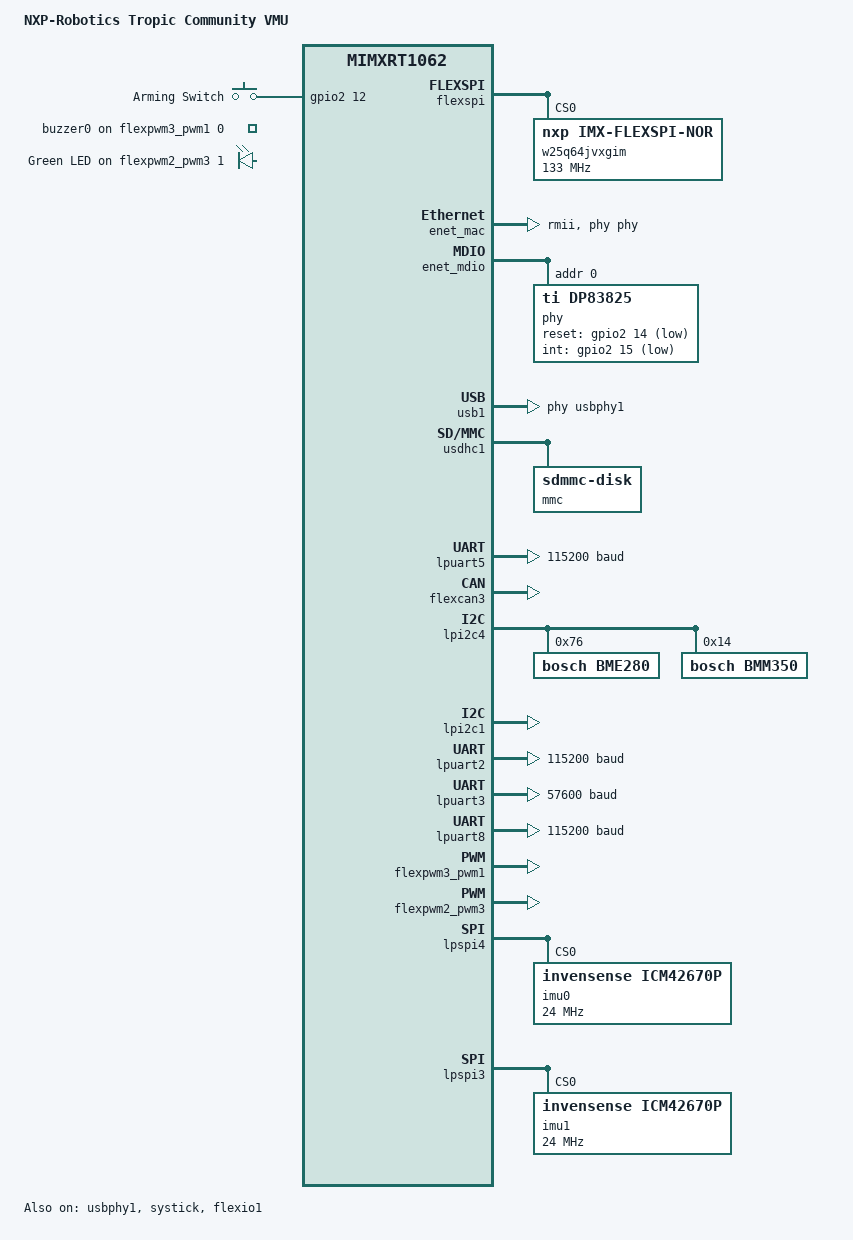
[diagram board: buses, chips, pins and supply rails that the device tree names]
/* SPDX-License-Identifier: Apache-2.0 */
/*
 * Copyright (c) 2020, Bernhard Kraemer
 * Copyright 2026 CogniPilot Foundation
 */

/*
 * NXP-Robotics "Tropic Community VMU" (Teensy 4.1 / MIMXRT1062DVJ6B based
 * carrier board): https://github.com/NXP-Robotics/TropicCommunityVMU
 *
 * This board is built on top of the upstream "teensy41" board (same MCU
 * module, same flash chip, same teensy-loader-cli flashing) - the base
 * SoC/flash/USB/network/SD sections below are taken unmodified from that
 * board's teensy40.dts/teensy41.dts. Everything past that point is this
 * carrier board's own sensors/actuators/connectors, built the way the
 * sibling "mr_vmu_tropic" board in this same repo does it: hardware wired
 * here in the board's own dts/board.c, with the app (cerebri) only
 * mapping generic aliases onto these chip labels.
 *
 * Sensor set and every pin below are taken from the board owner's actual
 * schematic ("Tropic-VMU_Modified_Mag_same_IMU" rev C) plus the physical
 * Teensy 4.1 pin number behind each net (confirmed against PJRC's own
 * teensy4/core_pins.h, ARDUINO_TEENSY41 block), which was then looked up in
 * hal_nxp's mimxrt1062dvl6a-pinctrl.dtsi to get the exact peripheral/alt-
 * function for each pad. Differs from the stock BOM (PX4's tropic-community
 * port) as follows:
 *   - Two identical ICM-42670-P IMUs (pin/register compatible with the
 *     ICM-42688-P footprint they replace) instead of ICM-42688-P + BMI088
 *   - Bosch BME280 barometer instead of BMP388 (I2C 0x76)
 *   - Bosch BMM350 magnetometer instead of BMM150 (I2C 0x14)
 *   - Both baro and mag share one internal I2C bus ("BARO_MAG_SDA/SCL")
 *
 * Net -> Teensy pin -> pad -> peripheral, as wired below:
 *   SPI1_CS/SCK/MISO/MOSI  10/13/12/11  B0_00/03/01/02       -> lpspi4 (imu0)
 *   SPI2_CS/SCK/MISO/MOSI  38/27/39/26  AD_B1_12/15/13/14    -> lpspi3 (imu1)
 *   BARO_MAG_SCL/SDA       24/25        AD_B0_12/13          -> lpi2c4
 *   EXT_SCL/SDA            19/18        AD_B1_00/01          -> lpi2c1
 *   CAN_TX/RX              31/30        EMC_36/37            -> flexcan3
 *   PWM_1/2/3/5/6      4/33/5/2/3   EMC_06/07/08/04/05    -> flexio1 (dshot)
 *   GPS_TX/RX               14/15        AD_B1_02/03          -> lpuart2
 *   TELEM_TX/RX/RTS/CTS 17/16/41/40  AD_B1_06/07/05/04     -> lpuart3
 *   DEBUG_TX/RX             35/34        B1_12/13             -> lpuart5
 *   RC_INPUT                20           AD_B1_10 (lpuart8_tx) -> lpuart8
 *                                        (single-wire; RX pin doubles as
 *                                        ADC_A below, so RX is NOT wired)
 *
 * All of the above line up exactly with what the upstream "teensy41"
 * board's default pinctrl already wires those peripherals to (see
 * tropic_community-pinctrl.dtsi's own "Teensy-Pins" comments, carried
 * over unmodified from that board), so none of them need a pinctrl
 * override except lpuart3 (its default pinctrl only covers TX/RX, not
 * the RTS/CTS pair this board actually has wired) and lpuart8 (single-
 * wire, TX pin only).
 *
 * The default zephyr,console/shell-uart is lpuart5 (the DEBUG connector),
 * not lpuart6 (the "teensy41" board's own default), since lpuart6's pins
 * (Teensy 0/1) are LED_R/LED_B on this board (see below).
 *
 * PWM_4 (Teensy pin 9, GPIO_B0_11) is a plain FlexPWM channel, not FlexIO,
 * so it is not usable by this repo's "nxp,flexio-dshot" driver and is left
 * unwired (6th ESC output unavailable).
 *
 * ARM safety switch, BUZZER and LED_G are wired below the same way
 * mr_vmu_tropic does it, since cerebri's drivers/sense/safety/main.c and
 * CEREBRI_ACTUATE_SOUND expect exactly those devicetree shapes regardless
 * of board:
 *   - ARM (Teensy pin 32, GPIO_B0_12 = GPIO2 IO12): a /gpio_keys node
 *     (cerebri's drivers/sense/safety/main.c does
 *     INPUT_CALLBACK_DEFINE(DEVICE_DT_GET(DT_PATH(gpio_keys)), ...) and
 *     filters on INPUT_KEY_0)
 *   - BUZZER (Teensy pin 29, GPIO_EMC_31, FlexPWM3 submodule1 channel A -
 *     matches PX4's TONE_ALARM_CHANNEL): a "pwm-leds" child node, same
 *     pattern as mr_vmu_tropic's &flexpwm1_pwm0/buzzer0
 *   - LED_G (Teensy pin 37, GPIO_B1_03, FlexPWM2 submodule3 channel B):
 *     a "pwm-leds" child node, same pattern as the buzzer
 *
 * LED_R/LED_B (Teensy pins 0/1, AD_B0_02/03) are driven via the XBAR1
 * crossbar into Quad Timer 4 (matches PX4's PWM_LED_RED/BLUE) - no
 * devicetree binding covers that, so board.c does the one-time XBAR/
 * GPR6/QTMR4 register setup in C (every value in that file is traced to
 * the i.MX RT1060 Reference Manual, not PX4's NuttX-specific macros) and
 * exposes tropic_community_led_red_set()/_blue_set(). Those two functions
 * aren't hooked up to anything yet - mr_vmu_tropic's own default cerebri
 * config doesn't drive its onboard RGB LED with any arm/safety/mode logic
 * either (CEREBRI_RDD2_LIGHTING and CEREBRI_ACTUATE_LED_ARRAY are both
 * disabled there too), so this matches it rather than falling short.
 *
 * RC_INPUT (Teensy pin 20, lpuart8 single-wire, RX pin doubles as ADC_A so
 * only TX is pinctrl'd) is enabled below but has no protocol decoder
 * attached: the physical UART/pin comes from the schematic, but the
 * receiver protocol (SBUS/CRSF/etc) is a property of whatever external
 * receiver module gets plugged in, not something on this board's own
 * schematic - so it isn't wired to a "rc" alias or any protocol-specific
 * child node here. If/when RC is needed, add a child node under &lpuart8
 * matching the actual receiver (see mr_vmu_tropic's lpuart8/sbus0 in this
 * same repo for the "tbs,crsf" shape).
 *
 * Not wired, deferred:
 *   - ADC_A/ADC_V (Teensy pins 21/22, AD_B1_11/AD_B1_08, ADC1_IN0/IN13):
 *     cerebri's drivers/sense/power/main.c wants ONE devicetree sensor
 *     device (alias power0) that reports both SENSOR_CHAN_VOLTAGE and
 *     SENSOR_CHAN_CURRENT - Zephyr doesn't have a stock combined ADC-
 *     voltage+current sensor binding, so this needs custom driver work.
 */

/dts-v1/;

#include <nxp/nxp_rt1060.dtsi>
#include "tropic_community-pinctrl.dtsi"
#include <freq.h>
#include <mem.h>
#include <zephyr/dt-bindings/input/input-event-codes.h>
#include <zephyr/dt-bindings/pwm/pwm.h>

/ {
	model = "NXP-Robotics Tropic Community VMU";
	compatible = "nxp,mimxrt1062";

	chosen {
		zephyr,flash-controller = &w25q64jvxgim;
		zephyr,flash = &w25q64jvxgim;
		/* teensy41's own default (&ocram, the 256K FlexRAM-carved
		 * region) is too small for rdd2's full stack (casadi-generated
		 * math, cmsis-dsp, networking, log_sdcard); &ocram2 is a
		 * separate, dedicated 512K OCRAM block this chip also has.
		 */
		zephyr,sram = &ocram2;
		zephyr,itcm = &itcm;
		zephyr,dtcm = &dtcm;
		/* Console/shell over USB CDC-ACM instead of lpuart5 (the DEBUG
		 * connector) - lets you get a shell over the same USB cable
		 * used to flash, without needing a USB-serial adapter on the
		 * DEBUG connector. Switch back to &lpuart5 once you have one,
		 * if you'd rather use the physical DEBUG port.
		 */
		zephyr,console = &cdc_acm_uart0;
		zephyr,shell-uart = &cdc_acm_uart0;
		zephyr,canbus = &flexcan3;
	};

	/* DELETED: "board_led" / led0 (Teensy pin 13, GPIO_B0_03) was
	 * inherited from the upstream teensy41 board's own default LED
	 * definition, where pin 13 is genuinely free. On THIS carrier
	 * board it isn't: the schematic's own SPI1_SCK net (feeding imu0,
	 * see &lpspi4 below) is wired to that exact same physical pad.
	 * Zephyr's gpio-leds driver configuring this pin as a plain GPIO
	 * output at boot silently stole the pad away from its LPSPI4_SCK
	 * alternate function, corrupting the SPI clock for imu0 - this was
	 * the actual root cause of an extremely long-running mystery where
	 * imu0 (and only imu0, never imu1 on a different, non-conflicting
	 * bus) would reliably work for its first ~2 register accesses and
	 * then silently stop responding for the rest of boot, on every
	 * single unit tested. Do not reintroduce an LED on this pin.
	 */

	/* ARM safety switch, Teensy pin 32 (GPIO_B0_12 = GPIO2 IO12) */
	gpio_keys {
		compatible = "gpio-keys";

		arming_button: button_0 {
			label = "Arming Switch";
			gpios = <&gpio2 12 (GPIO_PULL_DOWN | GPIO_ACTIVE_HIGH)>;
			zephyr,code = <INPUT_KEY_0>;
		};
	};

	pwmleds {
		compatible = "pwm-leds";

		/* Buzzer, Teensy pin 29 (GPIO_EMC_31, FlexPWM3 submodule1 ch A) */
		buzzer0: buzzer0 {
			pwms = <&flexpwm3_pwm1 0 PWM_HZ(50) PWM_POLARITY_NORMAL>;
		};

		/* LED_G, Teensy pin 37 (GPIO_B1_03, FlexPWM2 submodule3 ch B) */
		green_pwm_led: led_pwm_1 {
			pwms = <&flexpwm2_pwm3 1 PWM_MSEC(20) PWM_POLARITY_NORMAL>;
			label = "Green LED";
		};
	};
};

/* WINBOND 8MB flash memory, same module as the upstream teensy41 board */
&flexspi {
	status = "okay";

	reg = <0x402a8000 0x4000>, <0x60000000 DT_SIZE_M(8)>;

	w25q64jvxgim: w25q64jvxgim@0 {
		compatible = "nxp,imx-flexspi-nor";
		size = <DT_SIZE_M(8 * 8)>;
		reg = <0>;
		spi-max-frequency = <DT_FREQ_M(133)>;
		status = "okay";
		jedec-id = [ef 70 17];

		erase-block-size = <4096>;
		write-block-size = <1>;
	};
};

&enet_mac {
	status = "okay";
	pinctrl-0 = <&pinmux_enet>;
	pinctrl-names = "default";
	nxp,unique-mac;
	phy-connection-type = "rmii";
	phy-handle = <&phy>;
};

&enet_mdio {
	status = "okay";
	pinctrl-0 = <&pinmux_enet_mdio>;
	pinctrl-names = "default";

	phy: phy@0 {
		status = "okay";
		compatible = "ti,dp83825";
		reg = <0>;
		reset-gpios = <&gpio2 14 GPIO_ACTIVE_LOW>;
		int-gpios = <&gpio2 15 GPIO_ACTIVE_LOW>;
		ti,interface-type = "rmii";
	};
};

/* The USB1 EHCI controller alone can't drive the bus - it needs its PHY
 * (disabled by default in the SoC dtsi) enabled and linked via phy-handle,
 * or the host sees the device attach but every control transfer (even the
 * initial descriptor read) times out. Calibration values match NXP's own
 * mimxrt1060_evk board (same usbphy IP block, same RT1060 family).
 */
&usbphy1 {
	status = "okay";
	tx-d-cal = <12>;
	tx-cal-45-dp-ohms = <6>;
	tx-cal-45-dm-ohms = <6>;
};

zephyr_udc0: &usb1 {
	status = "okay";
	phy-handle = <&usbphy1>;

	cdc_acm_uart0: cdc_acm_uart0 {
		compatible = "zephyr,cdc-acm-uart";
	};
};

&usdhc1 {
	status = "okay";
	no-1-8-v;
	pinctrl-0 = <&pinmux_usdhc1>;
	pinctrl-1 = <&pinmux_usdhc1_slow>;
	pinctrl-2 = <&pinmux_usdhc1_med>;
	pinctrl-3 = <&pinmux_usdhc1_fast>;
	pinctrl-names = "default", "slow", "med", "fast";

	mmc {
		compatible = "zephyr,sdmmc-disk";
		disk-name = "SD";
		status = "okay";
	};
};

&edma0 {
	status = "okay";
};

&systick {
	status = "okay";
};

/* DEBUG connector / console, Teensy pins 35 (TX) / 34 (RX) */
&lpuart5 {
	status = "okay";
	pinctrl-0 = <&pinmux_lpuart5>;
	pinctrl-1 = <&pinmux_lpuart5_sleep>;
	pinctrl-names = "default", "sleep";
	current-speed = <115200>;
};

/* CAN connector (TJA1051 transceiver, net CAN_TX/CAN_RX, Teensy pins 31/30) */
&flexcan3 {
	status = "okay";
	pinctrl-0 = <&pinmux_flexcan3>;
	pinctrl-names = "default";
};

/* Internal BARO_MAG_SDA/SCL bus (Teensy pins 25/24): BME280 barometer +
 * BMM350 magnetometer
 */
&lpi2c4 {
	status = "okay";
	pinctrl-0 = <&pinmux_lpi2c4>;
	pinctrl-names = "default";

	bme280: bme280@76 {
		compatible = "bosch,bme280";
		reg = <0x76>;
	};

	bmm350: bmm350@14 {
		compatible = "bosch,bmm350";
		reg = <0x14>;
	};
};

/* External EXT_SDA/EXT_SCL connector, Teensy pins 18/19 */
&lpi2c1 {
	status = "okay";
	pinctrl-0 = <&pinmux_lpi2c1>;
	pinctrl-names = "default";
};

/* GPS connector, Teensy pins 15/14 */
&lpuart2 {
	status = "okay";
	pinctrl-0 = <&pinmux_lpuart2>;
	pinctrl-1 = <&pinmux_lpuart2_sleep>;
	pinctrl-names = "default", "sleep";
	current-speed = <115200>;
};

/* Telemetry radio connector, Teensy pins 17/16/41/40 (TX/RX/RTS/CTS) */
&lpuart3 {
	status = "okay";
	current-speed = <57600>;
	pinctrl-0 = <&pinmux_lpuart3_telem>;
	pinctrl-names = "default";
	hw-flow-control;
};

/* RC receiver input, Teensy pin 20, single-wire (RX pin doubles as ADC_A) */
&lpuart8 {
	status = "okay";
	pinctrl-0 = <&pinmux_lpuart8_rc_singlewire>;
	pinctrl-names = "default";
	single-wire;
	/* current-speed is required by the driver even though no protocol
	 * decoder is attached to this UART yet - placeholder value, change
	 * it to match whatever RC protocol/baud you end up wiring here.
	 */
	current-speed = <115200>;
};

/* Buzzer PWM, Teensy pin 29 (GPIO_EMC_31, FlexPWM3 submodule1 channel A) */
&flexpwm3_pwm1 {
	status = "okay";
	pinctrl-0 = <&pinmux_flexpwm3_pwm1_buzzer>;
	pinctrl-names = "default";
	nxp,prescaler = <128>;
};

/* LED_G PWM, Teensy pin 37 (GPIO_B1_03, FlexPWM2 submodule3 channel B) */
&flexpwm2_pwm3 {
	status = "okay";
	pinctrl-0 = <&pinmux_flexpwm2_pwm3_g>;
	pinctrl-names = "default";
	nxp,prescaler = <16>;
};

/* IMU 0, schematic net "SPI1_*", Teensy pins 10 (CS) / 13 (SCK) /
 * 12 (MISO) / 11 (MOSI)
 */
&lpspi4 {
	status = "okay";
	pinctrl-0 = <&pinmux_lpspi4>;
	pinctrl-names = "default";

	imu0: icm42670p@0 {
		compatible = "invensense,icm42670p";
		reg = <0>;
		spi-max-frequency = <24000000>;
		accel-hz = <100>;
		accel-fs = <16>;
		gyro-hz = <100>;
		gyro-fs = <2000>;
	};
};

/* IMU 1, schematic net "SPI2_*", Teensy pins 38 (CS) / 27 (SCK) /
 * 39 (MISO) / 26 (MOSI)
 */
&lpspi3 {
	status = "okay";
	pinctrl-0 = <&pinmux_lpspi3>;
	pinctrl-names = "default";

	imu1: icm42670p@0 {
		compatible = "invensense,icm42670p";
		reg = <0>;
		spi-max-frequency = <24000000>;
		accel-hz = <100>;
		accel-fs = <16>;
		gyro-hz = <100>;
		gyro-fs = <2000>;
	};
};

/* 5 DShot-capable ESC outputs: PWM_1 (pin4), PWM_2 (pin33), PWM_3 (pin5),
 * PWM_5 (pin2), PWM_6 (pin3). PWM_4 (pin9) is not FlexIO-driven, see the
 * header comment.
 */
&flexio1 {
	status = "okay";

	dshot: dshot {
		compatible = "nxp,flexio-dshot";
		pinctrl-0 = <&pinmux_dshot_tropic_community>;
		pinctrl-names = "default";
		status = "okay";
		speed = <600>;

		ch1 {
			pin-id = <6>; /* GPIO_EMC_06 / PWM_1 / Teensy pin 4 */
		};

		ch2 {
			pin-id = <7>; /* GPIO_EMC_07 / PWM_2 / Teensy pin 33 */
		};

		ch3 {
			pin-id = <8>; /* GPIO_EMC_08 / PWM_3 / Teensy pin 5 */
		};

		ch4 {
			pin-id = <4>; /* GPIO_EMC_04 / PWM_5 / Teensy pin 2 */
		};

		ch5 {
			/* GPIO_EMC_05 / PWM_6 / Teensy pin 3, unused by default */
			pin-id = <5>;
		};
	};
};
